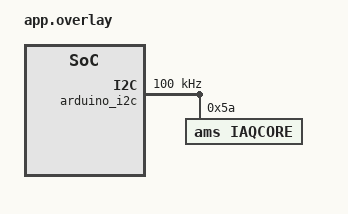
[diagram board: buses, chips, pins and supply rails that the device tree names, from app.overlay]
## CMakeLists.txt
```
# SPDX-License-Identifier: Apache-2.0

cmake_minimum_required(VERSION 3.28.0)

find_package(Zephyr REQUIRED HINTS $ENV{ZEPHYR_BASE})
project(iAQcore)

FILE(GLOB app_sources src/*.c)
target_sources(app PRIVATE ${app_sources})
```

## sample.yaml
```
sample:
  description: Demonstration of the AMS iAQ-core Digital VOC Sensor driver
  name: iAQcore sample
tests:
  sample.sensor.iaqcore:
    harness: sensor
    tags: samples
    depends_on:
      - i2c
      - arduino_i2c
```

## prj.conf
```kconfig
CONFIG_I2C=y
CONFIG_SENSOR=y
```

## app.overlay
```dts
/*
 * Copyright (c) 2018 Alexander Wachter
 * SPDX-License-Identifier: Apache-2.0
 */

&arduino_i2c {
	clock-frequency = <I2C_BITRATE_STANDARD>;
	status = "okay";

	iaqcore: iaqcore@5a {
		compatible = "ams,iaqcore";
		reg = <0x5a>;
	};
};
```

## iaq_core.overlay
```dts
/*
 * Copyright (c) 2018 Alexander Wachter
 * SPDX-License-Identifier: Apache-2.0
 */

&arduino_i2c {
	status = "okay";
	clock-frequency = <I2C_BITRATE_STANDARD>;

	iaqcore: iaqcore@5a {
		compatible = "ams,iaqcore";
		reg = <0x5a>;
		label = "IAQ_CORE";
	};
};
```

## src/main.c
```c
/*
 * Copyright (c) 2018 Alexander Wachter
 *
 * SPDX-License-Identifier: Apache-2.0
 */

#include <zephyr/kernel.h>
#include <zephyr/device.h>
#include <zephyr/drivers/sensor.h>
#include <zephyr/sys/printk.h>

int main(void)
{
	const struct device *dev;
	struct sensor_value co2, voc;

	dev = DEVICE_DT_GET_ONE(ams_iaqcore);
	if (!device_is_ready(dev)) {
		printk("sensor: device not ready.\n");
		return 0;
	}

	printk("device is %p, name is %s\n", dev, dev->name);

	while (1) {
		sensor_sample_fetch(dev);
		sensor_channel_get(dev, SENSOR_CHAN_CO2, &co2);
		sensor_channel_get(dev, SENSOR_CHAN_VOC, &voc);
		printk("Co2: %d.%06dppm; VOC: %d.%06dppb\n",
			co2.val1, co2.val2,
			voc.val1, voc.val2);

		k_sleep(K_MSEC(1000));
	}
	return 0;
}
```
